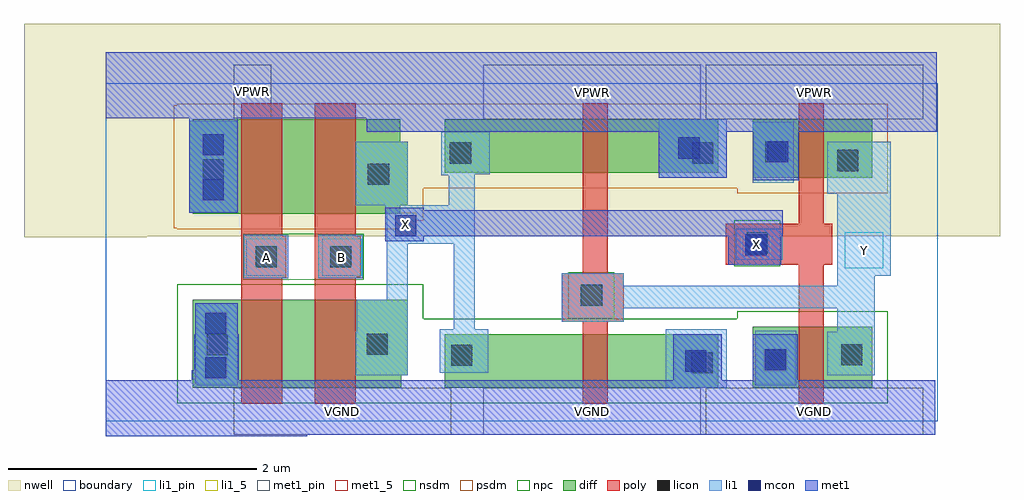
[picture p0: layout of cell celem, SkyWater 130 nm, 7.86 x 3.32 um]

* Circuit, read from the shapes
.subckt celem A B VGND VPWR X Y
XM1 n1 A VGND VSUBS sky130_fd_pr__nfet_01v8 w=0.71 l=0.33
XM2 X B n1 VSUBS sky130_fd_pr__nfet_01v8 w=0.71 l=0.33
XM3 VGND Y X VSUBS sky130_fd_pr__nfet_01v8 w=0.43 l=0.2
XM4 Y X VGND VSUBS sky130_fd_pr__nfet_01v8 w=0.49 l=0.2
XM5 n2 A VPWR n3 sky130_fd_pr__pfet_01v8 w=0.76 l=0.33
XM6 X B n2 n3 sky130_fd_pr__pfet_01v8 w=0.76 l=0.33
XM7 VPWR Y X n3 sky130_fd_pr__pfet_01v8 w=0.43 l=0.2
XM8 Y X VPWR n3 sky130_fd_pr__pfet_01v8 w=0.47 l=0.2
.ends

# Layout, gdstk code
import gdstk
lib = gdstk.Library(unit=1e-6, precision=1e-09)
def R(c, l, rs):  # rectangles x0, y0, x1, y1
    for r in rs: c.add(gdstk.rectangle(r[:2], r[2:], *l))
nwell = (64, 20)
diff = (65, 20)
poly = (66, 20)
licon = (66, 44)
li1_5 = (67, 5)
li1_pin = (67, 16)
li1 = (67, 20)
mcon = (67, 44)
met1_5 = (68, 5)
met1_pin = (68, 16)
met1 = (68, 20)
nsdm = (93, 44)
psdm = (94, 20)
npc = (95, 20)
boundary = (235, 4)

celem = lib.new_cell('celem')
R(celem, nwell, [(-0.66,1.48,0.33,1.49), (-0.66,1.49,7.2,3.2)])
R(celem, diff, [(0.7,0.27,2.38,0.37), (2.73,0.27,4.93,0.7), (5.21,0.27,6.17,0.76), (0.7,0.37,2.43,0.98), (0.7,1.67,2.37,1.68), (0.67,1.68,2.37,1.74), (0.67,1.74,2.43,2.25), (5.21,1.96,6.17,2.43), (2.73,2,4.93,2.43), (0.67,2.25,2.37,2.42), (0.7,2.42,2.37,2.43)])
R(celem, poly, [(1.09,0.14,1.42,1.16), (1.68,0.14,2.01,1.16), (3.84,0.14,4.04,0.8), (5.58,0.14,5.78,1.26), (3.67,0.8,4.17,1.19), (1.09,1.16,1.45,1.49), (1.68,1.16,2.05,1.49), (3.84,1.19,4.04,2.56), (4.99,1.26,5.85,1.59), (1.09,1.49,1.42,2.56), (1.68,1.49,2.01,2.56), (5.58,1.59,5.78,2.56)])
R(celem, licon, [(4.715,0.385,4.885,0.555), (5.31,0.41,5.48,0.58), (2.78,0.445,2.95,0.615), (5.92,0.45,6.09,0.62), (0.81,0.53,0.98,0.7), (2.1,0.535,2.27,0.705), (3.825,0.93,3.995,1.1), (1.205,1.24,1.375,1.41), (1.805,1.24,1.975,1.41), (5.16,1.35,5.33,1.52), (2.11,1.905,2.28,2.075), (0.78,1.94,0.95,2.11), (5.89,2.015,6.06,2.185), (2.77,2.075,2.94,2.245), (4.72,2.075,4.89,2.245), (5.31,2.085,5.48,2.255)])
R(celem, li1_5, [(2.33,1.49,2.5,1.68)])
R(celem, li1_pin, [(1.13,1.17,1.45,1.47), (1.74,1.17,2.06,1.47), (5.95,1.23,6.26,1.52)])
R(celem, li1, [(4.51,0.27,5,0.74), (0.73,0.29,1.06,0.3), (5.23,0.29,5.56,0.73), (0.72,0.3,1.06,0.95), (2.01,0.37,2.43,0.72), (5.81,0.37,6.19,0.72), (2.69,0.39,3.08,0.74), (2.02,0.72,2.43,0.98), (5.89,0.72,6.19,0.91), (2.8,0.74,2.97,1.43), (3.67,0.8,4.17,0.91), (3.67,0.91,6.19,1.09), (2.26,0.98,2.43,1.43), (3.67,1.09,4.17,1.19), (5.89,1.09,6.19,1.17), (1.11,1.15,1.47,1.5), (1.71,1.15,2.07,1.5), (5.89,1.17,6.32,1.83), (5.07,1.3,5.45,1.55), (2.26,1.43,2.97,1.67), (2.25,1.67,2.97,1.74), (0.67,1.68,1.06,2.42), (2.01,1.74,2.43,2.25), (2.76,1.74,2.97,1.98), (5.81,1.83,6.32,2.25), (5.21,1.92,5.54,2.41), (4.45,1.96,5,2.43), (2.7,1.98,2.97,1.99), (2.7,1.99,3.09,2.33)])
R(celem, mcon, [(0.8,0.345,0.97,0.515), (4.665,0.4,4.835,0.57), (5.305,0.41,5.475,0.58), (0.8,0.705,0.97,0.875), (5.15,1.335,5.32,1.505), (2.33,1.49,2.5,1.66), (0.78,1.78,0.95,1.95), (5.325,2.085,5.495,2.255), (4.61,2.115,4.78,2.285), (0.78,2.14,0.95,2.31)])
R(celem, met1_5, [(5.13,1.33,5.34,1.51)])
R(celem, met1_pin, [(1.03,-0.11,2.78,0.27), (3.04,-0.11,4.79,0.27), (4.83,-0.11,6.58,0.27), (3.04,2.43,4.79,2.87), (4.83,2.43,6.58,2.87), (1.03,2.44,1.33,2.87)])
R(celem, met1, [(0,-0.12,1.62,-0.11), (0,-0.11,6.68,0.33), (0.69,0.33,1.07,0.41), (4.57,0.33,4.96,0.7), (5.21,0.33,5.57,0.7), (0.71,0.41,1.07,0.7), (0.72,0.7,1.06,0.95), (5.01,1.26,5.44,1.49), (2.25,1.45,2.56,1.49), (2.25,1.49,5.45,1.7), (0.67,1.68,1.06,2.44), (2.25,1.7,2.56,1.72), (5.21,1.94,5.58,2.33), (4.45,1.96,5,2.33), (2.1,2.33,6.69,2.44), (0,2.44,6.69,2.97)])
R(celem, nsdm, [(0.575,0.145,6.295,0.825), (0.575,0.825,2.555,1.105), (5.085,0.825,6.295,0.885)])
R(celem, psdm, [(0.575,1.545,2.495,1.555), (0.545,1.555,2.495,1.615), (0.545,1.615,2.555,1.875), (5.085,1.835,6.295,1.875), (0.545,1.875,6.295,2.545), (0.575,2.545,6.295,2.555)])
R(celem, npc, [(3.725,0.83,4.095,1.2), (1.105,1.14,2.075,1.51), (5.06,1.25,5.43,1.62)])
R(celem, boundary, [(0,0,6.7,2.72)])
celem.add(gdstk.Label('X', (5.235,1.42), layer=68, texttype=5))
celem.add(gdstk.Label('X', (2.415,1.585), layer=67, texttype=5))
celem.add(gdstk.Label('VGND', (3.915,0.08), layer=68, texttype=5))
celem.add(gdstk.Label('VGND', (1.905,0.08), layer=68, texttype=5))
celem.add(gdstk.Label('VGND', (5.705,0.08), layer=68, texttype=5))
celem.add(gdstk.Label('VPWR', (5.705,2.65), layer=68, texttype=5))
celem.add(gdstk.Label('VPWR', (1.18,2.655), layer=68, texttype=5))
celem.add(gdstk.Label('VPWR', (3.915,2.65), layer=68, texttype=5))
celem.add(gdstk.Label('Y', (6.105,1.375), layer=67, texttype=5))
celem.add(gdstk.Label('A', (1.29,1.32), layer=67, texttype=5))
celem.add(gdstk.Label('B', (1.9,1.32), layer=67, texttype=5))

lib.write_gds('celem.gds')
